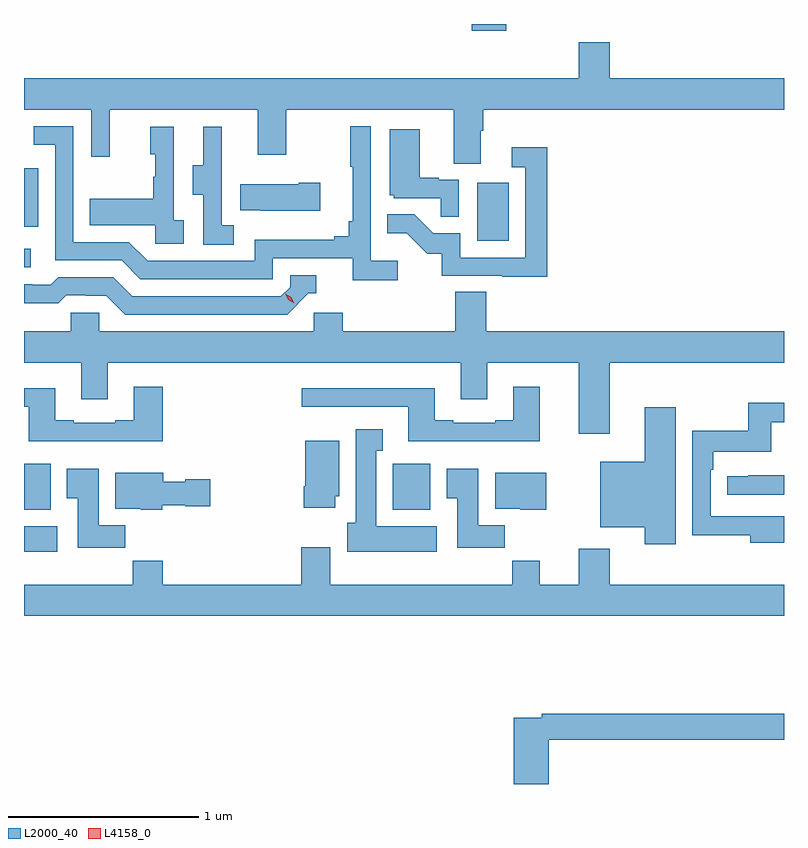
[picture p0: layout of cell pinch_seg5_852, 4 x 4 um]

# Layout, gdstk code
import gdstk
lib = gdstk.Library(unit=1e-6, precision=1e-09)
def R(c, l, rs):  # rectangles x0, y0, x1, y1
    for r in rs: c.add(gdstk.rectangle(r[:2], r[2:], *l))
def P(c, l, *ps):  # polygons
    for p in ps: c.add(gdstk.Polygon(p, *l))
L2000_40 = (2000, 40)
L4158_0 = (4158, 0)

pinch_seg5_852 = lib.new_cell('pinch_seg5_852')
R(pinch_seg5_852, L2000_40, [(845.404,881.072,845.578,881.206), (845.404,881.294,845.545,881.536), (847.346,881.294,847.543,881.536), (845.404,882.57,845.44,882.666), (847.79,882.708,847.954,883.015), (845.404,882.783,845.478,883.092), (847.76,883.815,847.943,883.85)])
P(pinch_seg5_852, L2000_40, [(847.807,883.288),(847.82,883.288),(847.82,883.4),(849.404,883.4),(849.404,883.564),(848.488,883.564),(848.488,883.753),(848.324,883.753),(848.324,883.564),(845.404,883.564),(845.404,883.4),(845.757,883.4),(845.757,883.152),(845.855,883.152),(845.855,883.4),(846.635,883.4),(846.635,883.161),(846.783,883.161),(846.783,883.4),(847.667,883.4),(847.667,883.114),(847.807,883.114)],
  [(847.372,882.604),(847.23,882.604),(847.23,883.312),(847.122,883.312),(847.122,883.099),(847.133,883.099),(847.133,882.811),(847.114,882.811),(847.114,882.734),(847.037,882.734),(847.037,882.715),(846.618,882.715),(846.618,882.603),(846.054,882.603),(845.955,882.702),(845.664,882.702),(845.664,883.311),(845.455,883.311),(845.455,883.215),(845.568,883.215),(845.568,882.606),(845.918,882.606),(846.017,882.507),(846.714,882.507),(846.714,882.618),(847.133,882.618),(847.133,882.502),(847.372,882.502)],
  [(846.508,882.791),(846.444,882.791),(846.444,883.095),(846.446,883.095),(846.446,883.309),(846.347,883.309),(846.347,883.107),(846.293,883.107),(846.293,882.952),(846.348,882.952),(846.348,882.688),(846.508,882.688)],
  [(846.244,882.818),(846.192,882.818),(846.192,883.309),(846.068,883.309),(846.068,883.164),(846.094,883.164),(846.094,883.046),(846.084,883.046),(846.084,882.931),(845.749,882.931),(845.749,882.791),(846.096,882.791),(846.096,882.693),(846.244,882.693)],
  [(847.692,883.029),(847.586,883.029),(847.586,883.042),(847.486,883.042),(847.486,883.297),(847.328,883.297),(847.328,882.948),(847.35,882.948),(847.35,882.933),(847.597,882.933),(847.597,882.835),(847.692,882.835)],
  [(848.159,883.201),(847.971,883.201),(847.971,883.095),(848.043,883.095),(848.043,882.621),(847.701,882.621),(847.701,882.75),(847.557,882.75),(847.459,882.848),(847.315,882.848),(847.315,882.749),(847.419,882.749),(847.526,882.642),(847.603,882.642),(847.603,882.525),(847.921,882.525),(847.921,882.52),(848.159,882.52)],
  [(846.964,883.014),(846.851,883.014),(846.851,883.006),(846.541,883.006),(846.541,882.869),(846.649,882.869),(846.649,882.866),(846.964,882.866)],
  [(846.9,882.432),(846.943,882.432),(846.943,882.528),(846.804,882.528),(846.804,882.465),(846.756,882.417),(845.973,882.417),(845.874,882.516),(845.585,882.516),(845.546,882.477),(845.447,882.477),(845.447,882.48),(845.404,882.48),(845.404,882.381),(845.585,882.381),(845.627,882.423),(845.73,882.423),(845.73,882.42),(845.837,882.42),(845.936,882.321),(846.789,882.321)],
  [(848.488,882.068),(849.404,882.068),(849.404,882.232),(847.838,882.232),(847.838,882.44),(847.673,882.44),(847.673,882.232),(847.082,882.232),(847.082,882.33),(846.93,882.33),(846.93,882.232),(845.799,882.232),(845.799,882.33),(845.649,882.33),(845.649,882.232),(845.404,882.232),(845.404,882.068),(845.705,882.068),(845.705,881.874),(845.845,881.874),(845.845,882.068),(847.703,882.068),(847.703,881.874),(847.843,881.874),(847.843,882.068),(848.324,882.068),(848.324,881.694),(848.488,881.694)],
  [(846.134,881.941),(845.981,881.941),(845.981,881.764),(845.885,881.764),(845.885,881.751),(845.665,881.751),(845.665,881.764),(845.569,881.764),(845.569,881.932),(845.404,881.932),(845.404,881.835),(845.429,881.835),(845.429,881.654),(846.134,881.654)],
  [(848.119,881.941),(847.979,881.941),(847.979,881.764),(847.883,881.764),(847.883,881.751),(847.663,881.751),(847.663,881.764),(847.567,881.764),(847.567,881.932),(846.867,881.932),(846.867,881.835),(847.427,881.835),(847.427,881.654),(848.119,881.654)],
  [(849.404,881.26),(849.331,881.26),(849.331,881.259),(849.018,881.259),(849.018,881.504),(849.032,881.504),(849.032,881.6),(849.337,881.6),(849.337,881.755),(849.404,881.755),(849.404,881.856),(849.216,881.856),(849.216,881.71),(848.922,881.71),(848.922,881.158),(849.227,881.158),(849.227,881.12),(849.404,881.12)],
  [(848.833,881.833),(848.672,881.833),(848.672,881.545),(848.438,881.545),(848.438,881.201),(848.672,881.201),(848.672,881.112),(848.833,881.112)],
  [(847.576,881.206),(847.258,881.206),(847.258,881.603),(847.291,881.603),(847.291,881.716),(847.151,881.716),(847.151,881.226),(847.106,881.226),(847.106,881.072),(847.576,881.072)],
  [(847.042,881.364),(847.063,881.364),(847.063,881.656),(846.884,881.656),(846.884,881.416),(846.877,881.416),(846.877,881.304),(847.042,881.304)],
  [(847.934,881.212),(847.795,881.212),(847.795,881.509),(847.628,881.509),(847.628,881.353),(847.685,881.353),(847.685,881.094),(847.934,881.094)],
  [(845.936,881.212),(845.797,881.212),(845.797,881.509),(845.63,881.509),(845.63,881.353),(845.687,881.353),(845.687,881.094),(845.936,881.094)],
  [(846.132,881.318),(846.252,881.318),(846.252,881.311),(846.385,881.311),(846.385,881.453),(846.252,881.453),(846.252,881.44),(846.136,881.44),(846.136,881.488),(845.885,881.488),(845.885,881.3),(846.018,881.3),(846.018,881.294),(846.132,881.294)],
  [(848.152,881.488),(847.883,881.488),(847.883,881.3),(848.016,881.3),(848.016,881.294),(848.152,881.294)],
  [(849.404,881.474),(849.217,881.474),(849.217,881.469),(849.105,881.469),(849.105,881.373),(849.404,881.373)],
  [(849.404,880.9),(848.488,880.9),(848.488,881.089),(848.324,881.089),(848.324,880.9),(848.119,880.9),(848.119,881.024),(847.975,881.024),(847.975,880.9),(847.015,880.9),(847.015,881.095),(846.863,881.095),(846.863,880.9),(846.134,880.9),(846.134,881.024),(845.977,881.024),(845.977,880.9),(845.404,880.9),(845.404,880.736),(849.404,880.736)],
  [(848.165,880.084),(849.404,880.084),(849.404,880.22),(848.128,880.22),(848.128,880.2),(847.982,880.2),(847.982,879.85),(848.165,879.85)])
P(pinch_seg5_852, L4158_0, [(846.827,882.379),(846.796,882.398),(846.78,882.431),(846.78,882.431),(846.78,882.431),(846.811,882.412),(846.827,882.379),(846.827,882.379)])

lib.write_gds('pinch_seg5_852.gds')
